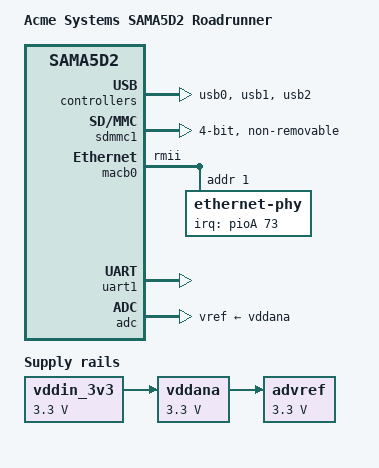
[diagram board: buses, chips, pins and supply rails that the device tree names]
/*
 * acme_roadrunner.dts - Device Tree file for Acme Systems
 * RoadRunner SOM 
 *
 *  Copyright (C) 2015 Atmel,
 *                2015 Nicolas Ferre <nicolas.ferre@atmel.com>
 *                2020 Sergio Tanzilli <tanzilli@acmesystems.it>
 *
 * This file is dual-licensed: you can use it either under the terms
 * of the GPL or the X11 license, at your option. Note that this dual
 * licensing only applies to this file, and not this project as a
 * whole.
 *
 *  a) This file is free software; you can redistribute it and/or
 *     modify it under the terms of the GNU General Public License as
 *     published by the Free Software Foundation; either version 2 of the
 *     License, or (at your option) any later version.
 *
 *     This file is distributed in the hope that it will be useful,
 *     but WITHOUT ANY WARRANTY; without even the implied warranty of
 *     MERCHANTABILITY or FITNESS FOR A PARTICULAR PURPOSE.  See the
 *     GNU General Public License for more details.
 *
 * Or, alternatively,
 *
 *  b) Permission is hereby granted, free of charge, to any person
 *     obtaining a copy of this software and associated documentation
 *     files (the "Software"), to deal in the Software without
 *     restriction, including without limitation the rights to use,
 *     copy, modify, merge, publish, distribute, sublicense, and/or
 *     sell copies of the Software, and to permit persons to whom the
 *     Software is furnished to do so, subject to the following
 *     conditions:
 *
 *     The above copyright notice and this permission notice shall be
 *     included in all copies or substantial portions of the Software.
 *
 *     THE SOFTWARE IS PROVIDED "AS IS", WITHOUT WARRANTY OF ANY KIND,
 *     EXPRESS OR IMPLIED, INCLUDING BUT NOT LIMITED TO THE WARRANTIES
 *     OF MERCHANTABILITY, FITNESS FOR A PARTICULAR PURPOSE AND
 *     NONINFRINGEMENT. IN NO EVENT SHALL THE AUTHORS OR COPYRIGHT
 *     HOLDERS BE LIABLE FOR ANY CLAIM, DAMAGES OR OTHER LIABILITY,
 *     WHETHER IN AN ACTION OF CONTRACT, TORT OR OTHERWISE, ARISING
 *     FROM, OUT OF OR IN CONNECTION WITH THE SOFTWARE OR THE USE OR
 *     OTHER DEALINGS IN THE SOFTWARE.
 */
/dts-v1/;
#include "sama5d2.dtsi"
#include "sama5d2-pinfunc.h"
#include <dt-bindings/mfd/atmel-flexcom.h>
#include <dt-bindings/gpio/gpio.h>



/ {
	model = "Acme Systems SAMA5D2 Roadrunner";
	compatible = "atmel,sama5d2-roadrunner", "atmel,sama5d27","atmel,sama5d2", "atmel,sama5";

	bootargs = "mem=256M console=ttyS0,115200 root=/dev/mmcblk0p2 rootfstype=ext4 rw rootwait consoleblank=0";

	chosen {
		stdout-path = "serial0:115200n8";
	};

	clocks {
		slow_xtal {
			clock-frequency = <32768>;
		};

		main_xtal {
			clock-frequency = <12000000>;
		};
	};

	ahb {
		usb0: gadget@300000 {
			pinctrl-names = "default";
			pinctrl-0 = <&pinctrl_usba_vbus>;
			status = "okay";
		};

		usb1: ohci@400000 {
			num-ports = <3>;
			pinctrl-names = "default";
			pinctrl-0 = <&pinctrl_usb_default>;
			status = "okay";
		};

		usb2: ehci@500000 {
			status = "okay";
		};

		sdmmc1: sdio-host@b0000000 {
			bus-width = <4>;
			pinctrl-names = "default";
			pinctrl-0 = <&pinctrl_sdmmc1_default>;
			non-removable;
			status = "okay"; /* conflict with qspi0 */
		};

		apb {
			spi0: spi@f8000000 {
				pinctrl-names = "default";
				pinctrl-0 = <&pinctrl_spi0_default>;
				status = "disabled";
			};

			macb0: ethernet@f8008000 {
				pinctrl-names = "default";
				pinctrl-0 = <&pinctrl_macb0_default &pinctrl_macb0_phy_irq>;
				phy-mode = "rmii";
				status = "okay";

				ethernet-phy@1 {
					reg = <0x1>;
					interrupt-parent = <&pioA>;
					interrupts = <73 IRQ_TYPE_LEVEL_LOW>;
					/*interrupts = <PIN_PC9 IRQ_TYPE_LEVEL_LOW>;*/
				};
			};

			tcb0: timer@f800c000 {
				timer0: timer@0 {
					compatible = "atmel,tcb-timer";
					reg = <0>;
				};

				timer1: timer@1 {
					compatible = "atmel,tcb-timer";
					reg = <1>;
				};
			};

			uart1: serial@f8020000 {
				pinctrl-names = "default";
				pinctrl-0 = <&pinctrl_uart1_default>;
				atmel,use-dma-rx;
				atmel,use-dma-tx;
				status = "okay";
			};

			i2c0: i2c@f8028000 {
				dmas = <0>, <0>;
				pinctrl-names = "default";
				pinctrl-0 = <&pinctrl_i2c0_default>;
				i2c-sda-hold-time-ns = <350>;
				status = "disabled";
			};

			pwm0: pwm@f802c000 {
				pinctrl-names = "default";
				pinctrl-0 = <&pinctrl_pwm0_pwm2_default>;
				status = "disabled"; 
			};

			flx0: flexcom@f8034000 {
				atmel,flexcom-mode = <ATMEL_FLEXCOM_MODE_USART>;
				status = "disabled"; /* conflict with ISC_D2 & ISC_D3 data pins */

				uart5: serial@200 {
					compatible = "atmel,at91sam9260-usart";
					reg = <0x200 0x200>;
					interrupts = <19 IRQ_TYPE_LEVEL_HIGH 7>;
					clocks = <&flx0_clk>;
					clock-names = "usart";
					pinctrl-names = "default";
					pinctrl-0 = <&pinctrl_flx0_default>;
					atmel,fifo-size = <32>;
					status = "disabled";
				};
			};

			shdwc@f8048010 {
				atmel,shdwc-debouncer = <976>;
				atmel,wakeup-rtc-timer;

				input@0 {
					reg = <0>;
					atmel,wakeup-type = "low";
				};
			};

			watchdog@f8048040 {
				status = "okay";
			};

			can0: can@f8054000 {
				pinctrl-names = "default";
				pinctrl-0 = <&pinctrl_can0_default>;
				status = "disabled";
			};

			uart3: serial@fc008000 {
				atmel,use-dma-rx;
				atmel,use-dma-tx;
				pinctrl-names = "default";
				pinctrl-0 = <&pinctrl_uart3_default>;
				status = "disabled";
			};

			flx4: flexcom@fc018000 {
				atmel,flexcom-mode = <ATMEL_FLEXCOM_MODE_TWI>;
				status = "disabled";

				i2c2: i2c@600 {
					compatible = "atmel,sama5d2-i2c";
					reg = <0x600 0x200>;
					interrupts = <23 IRQ_TYPE_LEVEL_HIGH 7>;
					dmas = <0>, <0>;
					dma-names = "tx", "rx";
					#address-cells = <1>;
					#size-cells = <0>;
					clocks = <&flx4_clk>;
					pinctrl-names = "default";
					pinctrl-0 = <&pinctrl_flx4_default>;
					atmel,fifo-size = <16>;
					status = "disabled";
				};
			};

			i2c1: i2c@fc028000 {
				dmas = <0>, <0>;
				pinctrl-names = "default";
				pinctrl-0 = <&pinctrl_i2c1_default>;
				status = "disabled";
			};

			vddin_3v3: fixed-regulator-vddin_3v3 {
				compatible = "regulator-fixed";

				regulator-name = "VDDIN_3V3";
				regulator-min-microvolt = <3300000>;
				regulator-max-microvolt = <3300000>;
				regulator-always-on;
				regulator-boot-on;
				status = "okay";
			};

			vddana: fixed-regulator-vddana {
				compatible = "regulator-fixed";

				regulator-name = "VDDANA";
				regulator-min-microvolt = <3300000>;
				regulator-max-microvolt = <3300000>;
				regulator-always-on;
				regulator-boot-on;
				vin-supply = <&vddin_3v3>;
				status = "okay";
			};

			advref: fixed-regulator-advref {
				compatible = "regulator-fixed";

				regulator-name = "advref";
				regulator-min-microvolt = <3300000>;
				regulator-max-microvolt = <3300000>;
				regulator-always-on;
				regulator-boot-on;
				vin-supply = <&vddana>;
				status = "okay";
			};

			adc: adc@fc030000 {
				vddana-supply = <&vddana>; 
				vref-supply =  <&vddana>; 
				pinctrl-names = "default";
				pinctrl-0 = <&pinctrl_adc_default>;
				status = "okay";
			};

			pinctrl@fc038000 {
				/*
				 * There is no real pinmux for ADC, if the pin
				 * is not requested by another peripheral then
				 * the muxing is done when channel is enabled.
				 * Requesting pins for ADC is GPIO is
				 * encouraged to prevent conflicts and to
				 * disable bias in order to be in the same
				 * state when the pin is not muxed to the adc.
				 */
				pinctrl_adc_default: adc_default {
					pinmux = <PIN_PD19__GPIO>,
						<PIN_PD20__GPIO>,
						<PIN_PD21__GPIO>,
						<PIN_PD22__GPIO>,
						<PIN_PD23__GPIO>,
						<PIN_PD24__GPIO>,
						<PIN_PD25__GPIO>,
						<PIN_PD26__GPIO>,
						<PIN_PD27__GPIO>,
						<PIN_PD28__GPIO>,
						<PIN_PD29__GPIO>,
						<PIN_PD30__GPIO>;
					bias-disable;
				};

				pinctrl_can0_default: can0_default {
					pinmux = <PIN_PC10__CANTX0>,
						 <PIN_PC11__CANRX0>;
					bias-disable;
				};

				pinctrl_can1_default: can1_default {
					pinmux = <PIN_PC26__CANTX1>,
						 <PIN_PC27__CANRX1>;
					bias-disable;
				};

				/*
				 * The ADTRG pin can work on any edge type.
				 * In here it's being pulled up, so need to
				 * connect it to ground to get an edge e.g.
				 * Trigger can be configured on falling, rise
				 * or any edge, and the pull-up can be changed
				 * to pull-down or left floating according to
				 * needs.
				 */
				pinctrl_adtrg_default: adtrg_default {
					pinmux = <PIN_PD31__ADTRG>;
					bias-pull-up;
				};

				pinctrl_charger_chglev: charger_chglev {
					pinmux = <PIN_PA12__GPIO>;
					bias-disable;
				};

				pinctrl_charger_irq: charger_irq {
					pinmux = <PIN_PB13__GPIO>;
					bias-disable;
				};

				pinctrl_charger_lbo: charger_lbo {
					pinmux = <PIN_PC8__GPIO>;
					bias-pull-up;
				};

				pinctrl_classd_default: classd_default {
					pinmux = <PIN_PB1__CLASSD_R0>,
						 <PIN_PB2__CLASSD_R1>,
						 <PIN_PB3__CLASSD_R2>,
						 <PIN_PB4__CLASSD_R3>;
					bias-pull-up;
				};

				pinctrl_flx0_default: flx0_default {
					pinmux = <PIN_PB28__FLEXCOM0_IO0>,
						 <PIN_PB29__FLEXCOM0_IO1>;
					bias-disable;
				};

				pinctrl_flx4_default: flx4_default {
					pinmux = <PIN_PD12__FLEXCOM4_IO0>,
						 <PIN_PD13__FLEXCOM4_IO1>;
					bias-disable;
				};

				pinctrl_i2c0_default: i2c0_default {
					pinmux = <PIN_PD21__TWD0>,
						 <PIN_PD22__TWCK0>;
					bias-disable;
				};

				pinctrl_i2c1_default: i2c1_default {
					pinmux = <PIN_PD4__TWD1>,
						 <PIN_PD5__TWCK1>;
					bias-disable;
				};

				pinctrl_key_gpio_default: key_gpio_default {
					pinmux = <PIN_PB9__GPIO>;
					bias-pull-up;
				};

				pinctrl_macb0_default: macb0_default {
					pinmux = <PIN_PB14__GTXCK>,
						 <PIN_PB15__GTXEN>,
						 <PIN_PB16__GRXDV>,
						 <PIN_PB17__GRXER>,
						 <PIN_PB18__GRX0>,
						 <PIN_PB19__GRX1>,
						 <PIN_PB20__GTX0>,
						 <PIN_PB21__GTX1>,
						 <PIN_PB22__GMDC>,
						 <PIN_PB23__GMDIO>;
					bias-disable;
				};

				pinctrl_macb0_phy_irq: macb0_phy_irq {
					pinmux = <PIN_PC9__GPIO>;
					bias-disable;
				};

				pinctrl_pdmic_default: pdmic_default {
					pinmux = <PIN_PB26__PDMIC_DAT>,
						<PIN_PB27__PDMIC_CLK>;
					bias-disable;
				};

				pinctrl_sdmmc0_default: sdmmc0_default {
					cmd_data {
						pinmux = <PIN_PA1__SDMMC0_CMD>,
							 <PIN_PA2__SDMMC0_DAT0>,
							 <PIN_PA3__SDMMC0_DAT1>,
							 <PIN_PA4__SDMMC0_DAT2>,
							 <PIN_PA5__SDMMC0_DAT3>,
							 <PIN_PA6__SDMMC0_DAT4>,
							 <PIN_PA7__SDMMC0_DAT5>,
							 <PIN_PA8__SDMMC0_DAT6>,
							 <PIN_PA9__SDMMC0_DAT7>;
						bias-disable;
					};

					ck_cd_rstn_vddsel {
						pinmux = <PIN_PA0__SDMMC0_CK>,
							 <PIN_PA10__SDMMC0_RSTN>,
							 <PIN_PA11__SDMMC0_VDDSEL>,
							 <PIN_PA13__SDMMC0_CD>;
						bias-disable;
					};
				};

				pinctrl_sdmmc1_default: sdmmc1_default {
					cmd_data {
						pinmux = <PIN_PA28__SDMMC1_CMD>,
							 <PIN_PA18__SDMMC1_DAT0>,
							 <PIN_PA19__SDMMC1_DAT1>,
							 <PIN_PA20__SDMMC1_DAT2>,
							 <PIN_PA21__SDMMC1_DAT3>;
						bias-pull-up;
					};

					conf-ck_cd {
						pinmux = <PIN_PA22__SDMMC1_CK>;
						bias-disable;
					};
				};

				pinctrl_spi0_default: spi0_default {
					pinmux = <PIN_PA14__SPI0_SPCK>,
						 <PIN_PA15__SPI0_MOSI>,
						 <PIN_PA16__SPI0_MISO>,
						 <PIN_PA17__SPI0_NPCS0>;
					bias-disable;
				};

				pinctrl_uart1_default: uart1_default {
					pinmux = <PIN_PD2__URXD1>,
						 <PIN_PD3__UTXD1>;
					bias-disable;
				};

				pinctrl_uart3_default: uart3_default {
					pinmux = <PIN_PB11__URXD3>,
						 <PIN_PB12__UTXD3>;
					bias-disable;
				};

				pinctrl_usb_default: usb_default {
					pinmux = <PIN_PB10__GPIO>;
					bias-disable;
				};

				pinctrl_usba_vbus: usba_vbus {
					pinmux = <PIN_PA31__GPIO>;
					bias-disable;
				};

				pinctrl_pwm0_pwm2_default: pwm0_pwm2_default {
					pinmux = <PIN_PB5__PWMH2>,
						 <PIN_PB6__PWML2>;
					bias-pull-up;
				};
			};

			classd: classd@fc048000 {
				pinctrl-names = "default";
				pinctrl-0 = <&pinctrl_classd_default>;
				atmel,pwm-type = "diff";
				atmel,non-overlap-time = <10>;
				status = "disabled";
			};

			can1: can@fc050000 {
				pinctrl-names = "default";
				pinctrl-0 = <&pinctrl_can1_default>;
				status = "disabled";
			};
		};
	};
};
